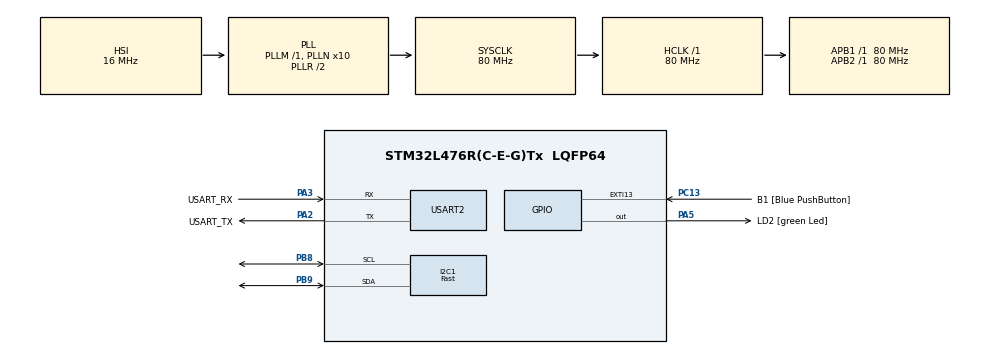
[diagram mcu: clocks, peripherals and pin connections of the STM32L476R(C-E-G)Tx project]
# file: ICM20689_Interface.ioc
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I2C1.I2C_Speed_Mode=I2C_Fast
I2C1.Timing=0x00702991
Mcu.Family=STM32L4
Mcu.Name=STM32L476R(C-E-G)Tx
Mcu.Package=LQFP64
NVIC.PriorityGroup=NVIC_PRIORITYGROUP_4
PA13\ (JTMS-SWDIO).GPIO_Label=TMS
PA13\ (JTMS-SWDIO).Mode=Serial_Wire
PA13\ (JTMS-SWDIO).Signal=SYS_JTMS-SWDIO
PA14\ (JTCK-SWCLK).GPIO_Label=TCK
PA14\ (JTCK-SWCLK).Mode=Serial_Wire
PA14\ (JTCK-SWCLK).Signal=SYS_JTCK-SWCLK
PA2.GPIO_Label=USART_TX
PA2.GPIO_Mode=GPIO_MODE_AF_PP
PA2.GPIO_PuPd=GPIO_NOPULL
PA2.GPIO_Speed=GPIO_SPEED_FREQ_VERY_HIGH
PA2.Mode=Asynchronous
PA2.Signal=USART2_TX
PA3.GPIO_Label=USART_RX
PA3.GPIO_Mode=GPIO_MODE_AF_PP
PA3.GPIO_PuPd=GPIO_NOPULL
PA3.GPIO_Speed=GPIO_SPEED_FREQ_VERY_HIGH
PA3.Mode=Asynchronous
PA3.Signal=USART2_RX
PA5.GPIO_Label=LD2 [green Led]
PA5.GPIO_ModeDefaultOutputPP=GPIO_MODE_OUTPUT_PP
PA5.GPIO_PuPd=GPIO_NOPULL
PA5.GPIO_Speed=GPIO_SPEED_FREQ_LOW
PA5.Signal=GPIO_Output
PB3\ (JTDO-TRACESWO).GPIO_Label=SWO
PB3\ (JTDO-TRACESWO).Signal=SYS_JTDO-SWO
PB8.Mode=I2C
PB8.Signal=I2C1_SCL
PB9.Mode=I2C
PB9.Signal=I2C1_SDA
PC13.GPIO_Label=B1 [Blue PushButton]
PC13.GPIO_ModeDefaultEXTI=GPIO_MODE_IT_FALLING
PC13.GPIO_PuPd=GPIO_NOPULL
PC13.Signal=GPXTI13
PC14-OSC32_IN\ (PC14).Mode=LSE-External-Oscillator
PC14-OSC32_IN\ (PC14).Signal=RCC_OSC32_IN
PC15-OSC32_OUT\ (PC15).Mode=LSE-External-Oscillator
PC15-OSC32_OUT\ (PC15).Signal=RCC_OSC32_OUT
PH0-OSC_IN\ (PH0).Signal=RCC_OSC_IN
PH1-OSC_OUT\ (PH1).Signal=RCC_OSC_OUT
ProjectManager.HeapSize=0x200
ProjectManager.StackSize=0x400
ProjectManager.TargetToolchain=STM32CubeIDE
RCC.ADCFreq_Value=64000000
RCC.AHBFreq_Value=80000000
RCC.APB1Freq_Value=80000000
RCC.APB1TimFreq_Value=80000000
RCC.APB2Freq_Value=80000000
RCC.APB2TimFreq_Value=80000000
RCC.CortexFreq_Value=80000000
RCC.HCLKFreq_Value=80000000
RCC.HSE_VALUE=8000000
RCC.HSI_VALUE=16000000
RCC.MSI_VALUE=4000000
RCC.PLLN=10
RCC.PLLSourceVirtual=RCC_PLLSOURCE_HSI
RCC.PREFETCH_ENABLE=1
RCC.SYSCLKFreq_VALUE=80000000
RCC.SYSCLKSource=RCC_SYSCLKSOURCE_PLLCLK
RCC.USBFreq_Value=64000000
RCC.VCOOutputFreq_Value=160000000
USART2.VirtualMode-Asynchronous=VM_ASYNC
board=NUCLEO-L476RG

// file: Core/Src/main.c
/* USER CODE BEGIN Header */
/**
  ******************************************************************************
  * @file           : main.c
  * @brief          : Main program body
  ******************************************************************************
  * @attention
  *
  * <h2><center>&copy; Copyright (c) 2022 STMicroelectronics.
  * All rights reserved.</center></h2>
  *
  * This software component is licensed by ST under BSD 3-Clause license,
  * the "License"; You may not use this file except in compliance with the
  * License. You may obtain a copy of the License at:
  *                        opensource.org/licenses/BSD-3-Clause
  *
  ******************************************************************************
  */
/* USER CODE END Header */
#include "main.h"

/* USER CODE BEGIN Includes */
#include "HAL_ICM20689.h"
#include <stdarg.h>
/* USER CODE END Includes */

UART_HandleTypeDef huart2;

void SystemClock_Config(void);
static void MX_GPIO_Init(void);
static void MX_I2C1_Init(void);
static void MX_USART2_UART_Init(void);
/* USER CODE BEGIN PFP */
void printmsg(char *format,...);
/* USER CODE END PFP */

int main(void)
{

  /* MCU Configuration--------------------------------------------------------*/

  /* Reset of all peripherals, Initializes the Flash interface and the Systick. */
  HAL_Init();

  /* Configure the system clock */
  SystemClock_Config();

  /* Initialize all configured peripherals */
  MX_GPIO_Init();
  MX_I2C1_Init();
  MX_USART2_UART_Init();
  /* USER CODE BEGIN 2 */
  printmsg("ICM20689 API Started!\r\n");
  //imu_status_t flag = ICM20689_Init_IMU(GYRO_CONFIG_FSSEL_500DPS,ACC_CONFIG_AFSSEL_2G,CONFIG_DLFP_1);
  HAL_StatusTypeDef i2cErrorCode = HAL_I2C_IsDeviceReady(&hi2c1,0x68, 10,100);

  if((i2cErrorCode) == HAL_OK)
  {
	  printmsg("i2c interface is fine \r\n");
  }
  else
  {
	 printmsg("Error in i2c interface \r\n");
	 printmsg("HAL_Error Code: %d \r\n", i2cErrorCode);
  }

  uint8_t whoami = 0;

  imu_status_t flag = ICM20689_Get_ID(&hi2c1, &whoami);
  if(flag == IMU_OK)
  {
	  HAL_GPIO_WritePin(LD2_GPIO_Port,LD2_Pin,SET);
  }else
  {
	  printmsg("IMU Error Code: %d \r\n", flag);
	  while(1)
	  {
		  HAL_GPIO_TogglePin(LD2_GPIO_Port,LD2_Pin);
		  HAL_Delay(500);
	  }
  }

  /* USER CODE END 2 */

  /* Infinite loop */
  while (1)
  {

  }
}

void SystemClock_Config(void)
{
  RCC_OscInitTypeDef RCC_OscInitStruct = {0};
  RCC_ClkInitTypeDef RCC_ClkInitStruct = {0};
  RCC_PeriphCLKInitTypeDef PeriphClkInit = {0};

  /** Initializes the RCC Oscillators according to the specified parameters
  * in the RCC_OscInitTypeDef structure.
  */
  RCC_OscInitStruct.OscillatorType = RCC_OSCILLATORTYPE_HSI;
  RCC_OscInitStruct.HSIState = RCC_HSI_ON;
  RCC_OscInitStruct.HSICalibrationValue = RCC_HSICALIBRATION_DEFAULT;
  RCC_OscInitStruct.PLL.PLLState = RCC_PLL_ON;
  RCC_OscInitStruct.PLL.PLLSource = RCC_PLLSOURCE_HSI;
  RCC_OscInitStruct.PLL.PLLM = 1;
  RCC_OscInitStruct.PLL.PLLN = 10;
  RCC_OscInitStruct.PLL.PLLP = RCC_PLLP_DIV7;
  RCC_OscInitStruct.PLL.PLLQ = RCC_PLLQ_DIV2;
  RCC_OscInitStruct.PLL.PLLR = RCC_PLLR_DIV2;
  if (HAL_RCC_OscConfig(&RCC_OscInitStruct) != HAL_OK)
  {
    Error_Handler();
  }
  /** Initializes the CPU, AHB and APB buses clocks
  */
  RCC_ClkInitStruct.ClockType = RCC_CLOCKTYPE_HCLK|RCC_CLOCKTYPE_SYSCLK
                              |RCC_CLOCKTYPE_PCLK1|RCC_CLOCKTYPE_PCLK2;
  RCC_ClkInitStruct.SYSCLKSource = RCC_SYSCLKSOURCE_PLLCLK;
  RCC_ClkInitStruct.AHBCLKDivider = RCC_SYSCLK_DIV1;
  RCC_ClkInitStruct.APB1CLKDivider = RCC_HCLK_DIV1;
  RCC_ClkInitStruct.APB2CLKDivider = RCC_HCLK_DIV1;

  if (HAL_RCC_ClockConfig(&RCC_ClkInitStruct, FLASH_LATENCY_4) != HAL_OK)
  {
    Error_Handler();
  }
  PeriphClkInit.PeriphClockSelection = RCC_PERIPHCLK_USART2|RCC_PERIPHCLK_I2C1;
  PeriphClkInit.Usart2ClockSelection = RCC_USART2CLKSOURCE_PCLK1;
  PeriphClkInit.I2c1ClockSelection = RCC_I2C1CLKSOURCE_PCLK1;
  if (HAL_RCCEx_PeriphCLKConfig(&PeriphClkInit) != HAL_OK)
  {
    Error_Handler();
  }
  /** Configure the main internal regulator output voltage
  */
  if (HAL_PWREx_ControlVoltageScaling(PWR_REGULATOR_VOLTAGE_SCALE1) != HAL_OK)
  {
    Error_Handler();
  }
}

static void MX_USART2_UART_Init(void)
{

  huart2.Instance = USART2;
  huart2.Init.BaudRate = 115200;
  huart2.Init.WordLength = UART_WORDLENGTH_8B;
  huart2.Init.StopBits = UART_STOPBITS_1;
  huart2.Init.Parity = UART_PARITY_NONE;
  huart2.Init.Mode = UART_MODE_TX_RX;
  huart2.Init.HwFlowCtl = UART_HWCONTROL_NONE;
  huart2.Init.OverSampling = UART_OVERSAMPLING_16;
  huart2.Init.OneBitSampling = UART_ONE_BIT_SAMPLE_DISABLE;
  huart2.AdvancedInit.AdvFeatureInit = UART_ADVFEATURE_NO_INIT;
  if (HAL_UART_Init(&huart2) != HAL_OK)
  {
    Error_Handler();
  }

}

static void MX_GPIO_Init(void)
{
  GPIO_InitTypeDef GPIO_InitStruct = {0};

  /* GPIO Ports Clock Enable */
  __HAL_RCC_GPIOC_CLK_ENABLE();
  __HAL_RCC_GPIOH_CLK_ENABLE();
  __HAL_RCC_GPIOA_CLK_ENABLE();
  __HAL_RCC_GPIOB_CLK_ENABLE();

  /*Configure GPIO pin Output Level */
  HAL_GPIO_WritePin(LD2_GPIO_Port, LD2_Pin, GPIO_PIN_RESET);

  /*Configure GPIO pin : B1_Pin */
  GPIO_InitStruct.Pin = B1_Pin;
  GPIO_InitStruct.Mode = GPIO_MODE_IT_FALLING;
  GPIO_InitStruct.Pull = GPIO_NOPULL;
  HAL_GPIO_Init(B1_GPIO_Port, &GPIO_InitStruct);

  /*Configure GPIO pin : LD2_Pin */
  GPIO_InitStruct.Pin = LD2_Pin;
  GPIO_InitStruct.Mode = GPIO_MODE_OUTPUT_PP;
  GPIO_InitStruct.Pull = GPIO_NOPULL;
  GPIO_InitStruct.Speed = GPIO_SPEED_FREQ_LOW;
  HAL_GPIO_Init(LD2_GPIO_Port, &GPIO_InitStruct);

}

/* USER CODE BEGIN 4 */
void printmsg(char *format,...) {
    char str[80];

    /*Extract the the argument list using VA apis */
    va_list args;
    va_start(args, format);
    vsprintf(str, format,args);
    HAL_UART_Transmit(&huart2,(uint8_t *)str, strlen(str),HAL_MAX_DELAY);
    va_end(args);
}
/* USER CODE END 4 */

void Error_Handler(void)
{
}

/************************ (C) COPYRIGHT STMicroelectronics *****END OF FILE****/
